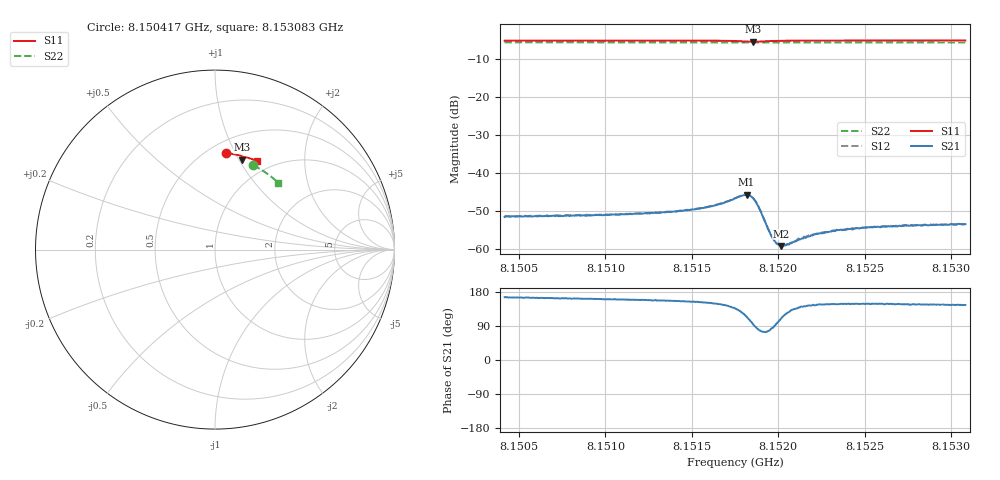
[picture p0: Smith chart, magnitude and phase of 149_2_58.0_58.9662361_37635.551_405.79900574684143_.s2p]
#  HZ  S  RI  R  50.00
! Rohde & Schwarz Vector Network Analyzer
! Rohde-Schwarz,ZNB20-2Port,1311601062101988,3.16
! Created: UTC 3/21/2024, 12:56:57 AM
! freq[Hz]  re:S11  im:S11  re:S21  im:S21  re:S12  im:S12  re:S22  im:S22
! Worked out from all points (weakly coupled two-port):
!   401 points, 8.150417 GHz to 8.153083 GHz, reference 50 ohm
!   highest |S21| = -45.68 dB at 8.151816 GHz (marker M1); lowest = -59.1 dB at 8.152016 GHz (marker M2)
!   lowest |S11| = -5.6 dB at 8.151856 GHz (marker M3), VSWR 3.20, Z = 37.4 + j51.7 ohm
!   |S11| at or under -10 dB: nowhere
!   |S22| runs from -5.8 to -5.8 dB; largest |S21 - S12| = 0.00012
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8.1504168e9  0.061 0.5379  -0.00258 0.000658  -0.00261 0.000728  0.2128 0.4693
8.1508634e9  0.0925 0.5341  -0.00264 0.000875  -0.00266 0.00093  0.2386 0.4561
8.1513099e9  0.1242 0.5282  -0.00277 0.00116  -0.00277 0.00122  0.2633 0.4416
8.1514166e9  0.1321 0.5262  -0.00288 0.00131  -0.00286 0.00137  0.2692 0.4377
8.1515832e9  0.1449 0.5221  -0.00311 0.00171  -0.00311 0.00171  0.2781 0.432
8.1516765e9  0.1527 0.5185  -0.0033 0.00225  -0.00331 0.0023  0.283 0.4282
8.1517498e9  0.1587 0.5125  -0.00336 0.00322  -0.00335 0.00332  0.287 0.4255
8.1518165e9  0.1589 0.5032  -0.00214 0.00474  -0.00209 0.0048  0.2901 0.4228
8.1518365e9  0.1562 0.5012  -0.00125 0.00488  -0.00117 0.00496  0.2909 0.4222
8.1518565e9  0.1525 0.5012  -0.000309 0.00462  -0.000217 0.00465  0.2918 0.4215
8.1518698e9  0.1505 0.5024  0.00024 0.00419  0.000302 0.00423  0.2924 0.421
8.1518898e9  0.1493 0.5055  0.000668 0.00339  0.000682 0.00341  0.2933 0.4204
8.1519431e9  0.1522 0.5125  0.000408 0.00177  0.000461 0.00176  0.2963 0.4188
8.1519631e9  0.1545 0.5138  0.000158 0.00147  0.000225 0.00146  0.2972 0.4181
8.1519898e9  0.1575 0.5149  -0.000126 0.00118  -9.14e-05 0.00123  0.2987 0.417
8.1520164e9  0.1602 0.5154  -0.000368 0.00105  -0.000348 0.00105  0.3002 0.4161
8.1520497e9  0.1636 0.5154  -0.000638 0.000967  -0.000635 0.000975  0.3019 0.4149
8.1521031e9  0.1685 0.5149  -0.00093 0.0009  -0.000912 0.000925  0.3047 0.4127
8.1521964e9  0.1763 0.5137  -0.00123 0.000881  -0.00126 0.00092  0.3095 0.409
8.1523497e9  0.1876 0.5104  -0.00151 0.00097  -0.00153 0.000947  0.3173 0.4028
8.1526429e9  0.2079 0.5033  -0.00169 0.00107  -0.0017 0.00112  0.3315 0.3906
8.1530828e9  0.2364 0.4913  -0.00176 0.00122  -0.00174 0.00125  0.3519 0.3716
